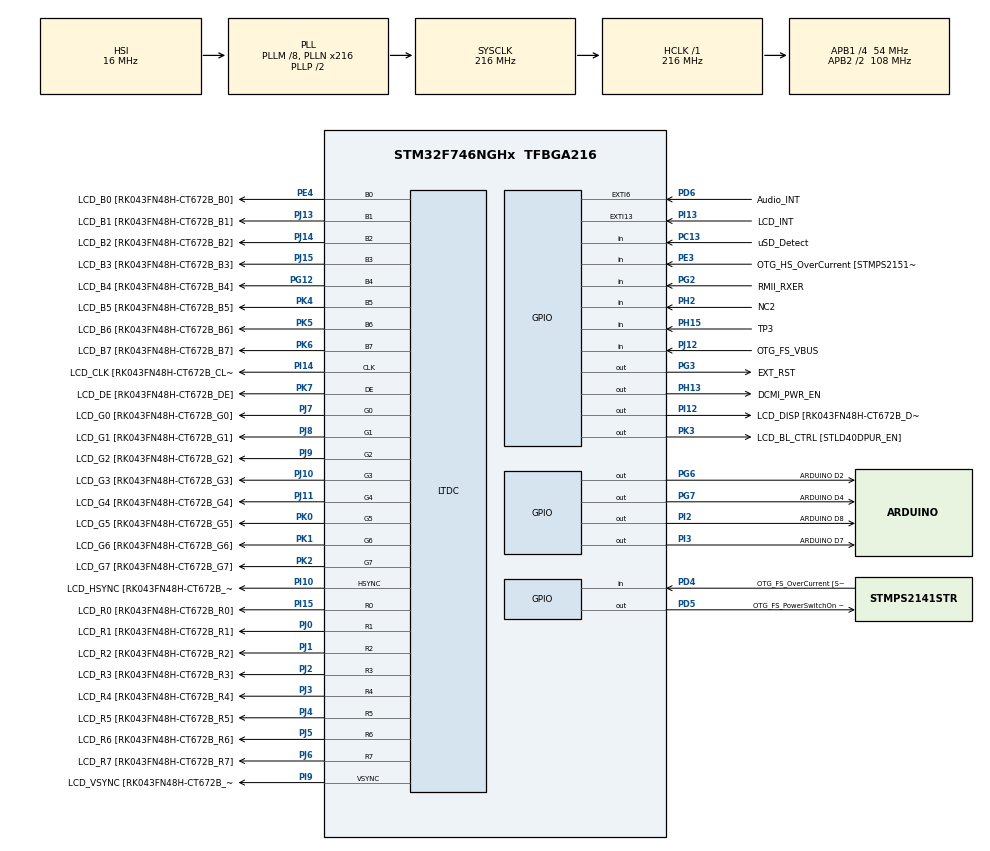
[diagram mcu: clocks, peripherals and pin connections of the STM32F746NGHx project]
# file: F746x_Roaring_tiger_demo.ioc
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LTDC.ActiveH=272
LTDC.ActiveW=480
LTDC.Alpha_L0=255
LTDC.HBP=43
LTDC.HFP=8
LTDC.HSync=51
LTDC.ImageHeight_L0=270
LTDC.ImageWidth_L0=480
LTDC.Layers=0
LTDC.PixelFormat_L0=LTDC_PIXEL_FORMAT_RGB565
LTDC.VBP=12
LTDC.VFP=4
LTDC.VSync=16
LTDC.WindowX1_L0=480
LTDC.WindowY1_L0=270
Mcu.Family=STM32F7
Mcu.Name=STM32F746NGHx
Mcu.Package=TFBGA216
NVIC.LTDC_ER_IRQn=true\:0\:0\:false\:false\:true\:true\:true\:true
NVIC.LTDC_IRQn=true\:0\:0\:false\:false\:true\:true\:true\:true
NVIC.PriorityGroup=NVIC_PRIORITYGROUP_4
PA0/WKUP.GPIO_Label=ARDUINO A0
PA0/WKUP.GPIO_Mode=GPIO_MODE_ANALOG
PA0/WKUP.GPIO_PuPd=GPIO_NOPULL
PA0/WKUP.Signal=ADCx_IN0
PA1.GPIO_Label=RMII_REF_CLK [LAN8742A-CZ-TR_REFCLK0]
PA1.Signal=ETH_REF_CLK
PA10.GPIO_Label=OTG_FS_ID
PA10.Signal=USB_OTG_FS_ID
PA11.GPIO_Label=OTG_FS_N
PA11.Signal=USB_OTG_FS_DM
PA12.GPIO_Label=OTG_FS_P
PA12.Signal=USB_OTG_FS_DP
PA13.GPIO_Label=SWDIO
PA13.Signal=SYS_JTMS-SWDIO
PA14.GPIO_Label=SWCLK
PA14.Signal=SYS_JTCK-SWCLK
PA15.GPIO_Label=ARDUINO PWM/D9
PA15.GPIO_ModeDefaultPP=GPIO_MODE_AF_PP
PA15.GPIO_PuPd=GPIO_NOPULL
PA15.GPIO_Speed=GPIO_SPEED_FREQ_LOW
PA15.Signal=S_TIM2_CH1_ETR
PA2.GPIO_Label=RMII_MDIO [LAN8742A-CZ-TR_MDIO]
PA2.Signal=ETH_MDIO
PA3.GPIO_Label=ULPI_D0 [USB3320C-EZK_D0]
PA3.Signal=USB_OTG_HS_ULPI_D0
PA4.GPIO_Label=DCMI_HSYNC
PA4.Signal=DCMI_HSYNC
PA5.GPIO_Label=ULPI_CLK [USB3320C-EZK_CLKOUT]
PA5.Signal=USB_OTG_HS_ULPI_CK
PA6.Signal=DCMI_PIXCLK
PA7.GPIO_Label=RMII_CRS_DV [LAN8742A-CZ-TR_CRS_DV]
PA7.Signal=ETH_CRS_DV
PA8.GPIO_Label=ARDUINO PWM/D10
PA8.GPIO_ModeDefaultPP=GPIO_MODE_AF_PP
PA8.GPIO_PuPd=GPIO_NOPULL
PA8.GPIO_Speed=GPIO_SPEED_FREQ_LOW
PA8.Signal=S_TIM1_CH1
PA9.GPIO_Label=VCP_TX [STM32F103CBT6_PA3]
PA9.GPIO_Mode=GPIO_MODE_AF_PP
PA9.GPIO_PuPd=GPIO_NOPULL
PA9.GPIO_Speed=GPIO_SPEED_FREQ_LOW
PA9.Signal=USART1_TX
PB0.GPIO_Label=ULPI_D1 [USB3320C-EZK_D1]
PB0.Signal=USB_OTG_HS_ULPI_D1
PB1.GPIO_Label=ULPI_D2 [USB3320C-EZK_D2]
PB1.Signal=USB_OTG_HS_ULPI_D2
PB10.GPIO_Label=ULPI_D3 [USB3320C-EZK_D3]
PB10.Signal=USB_OTG_HS_ULPI_D3
PB11.GPIO_Label=ULPI_D4 [USB3320C-EZK_D4]
PB11.Signal=USB_OTG_HS_ULPI_D4
PB12.GPIO_Label=ULPI_D5 [USB3320C-EZK_D5]
PB12.Signal=USB_OTG_HS_ULPI_D5
PB13.GPIO_Label=ULPI_D6 [USB3320C-EZK_D6]
PB13.Signal=USB_OTG_HS_ULPI_D6
PB14.GPIO_Label=ARDUINO MISO/D12
PB14.GPIO_Mode=GPIO_MODE_AF_PP
PB14.GPIO_PuPd=GPIO_NOPULL
PB14.GPIO_Speed=GPIO_SPEED_FREQ_LOW
PB14.Signal=SPI2_MISO
PB15.GPIO_Label=ARDUINO MOSI/PWM/D11
PB15.GPIO_Mode=GPIO_MODE_AF_PP
PB15.GPIO_PuPd=GPIO_NOPULL
PB15.GPIO_Speed=GPIO_SPEED_FREQ_LOW
PB15.Signal=SPI2_MOSI
PB2.Signal=QUADSPI_CLK
PB3.GPIO_Label=SWO
PB3.Signal=SYS_JTDO-SWO
PB4.GPIO_Label=ARDUINO PWM/D3
PB4.GPIO_ModeDefaultPP=GPIO_MODE_AF_PP
PB4.GPIO_PuPd=GPIO_NOPULL
PB4.GPIO_Speed=GPIO_SPEED_FREQ_LOW
PB4.Signal=S_TIM3_CH1
PB5.GPIO_Label=ULPI_D7 [USB3320C-EZK_D7]
PB5.Signal=USB_OTG_HS_ULPI_D7
PB6.GPIO_Label=QSPI_NCS [N25Q128A13EF840E_S]
PB6.Signal=QUADSPI_BK1_NCS
PB7.GPIO_Label=VCP_RX [STM32F103CBT6_PA2]
PB7.GPIO_Mode=GPIO_MODE_AF_PP
PB7.GPIO_PuPd=GPIO_NOPULL
PB7.GPIO_Speed=GPIO_SPEED_FREQ_LOW
PB7.Signal=USART1_RX
PB8.GPIO_Label=ARDUINO SCL/D15
PB8.GPIO_Mode=GPIO_MODE_AF_OD
PB8.GPIO_PuPd=GPIO_NOPULL
PB8.GPIO_Speed=GPIO_SPEED_FREQ_LOW
PB8.Signal=I2C1_SCL
PB9.GPIO_Label=ARDUINO SDA/D14
PB9.GPIO_Mode=GPIO_MODE_AF_OD
PB9.GPIO_PuPd=GPIO_NOPULL
PB9.GPIO_Speed=GPIO_SPEED_FREQ_LOW
PB9.Signal=I2C1_SDA
PC0.GPIO_Label=ULPI_STP [USB3320C-EZK_STP]
PC0.Signal=USB_OTG_HS_ULPI_STP
PC1.GPIO_Label=RMII_MDC [LAN8742A-CZ-TR_MDC]
PC1.Signal=ETH_MDC
PC10.GPIO_Label=SDMMC_D2
PC10.Signal=SDMMC1_D2
PC11.GPIO_Label=SDMMC_D3
PC11.Signal=SDMMC1_D3
PC12.GPIO_Label=SDMMC_CK
PC12.Signal=SDMMC1_CK
PC13.GPIO_Label=uSD_Detect
PC13.Signal=GPIO_Input
PC14/OSC32_IN.GPIO_Label=RCC_OSC32_IN
PC14/OSC32_IN.Signal=RCC_OSC32_IN
PC15/OSC32_OUT.GPIO_Label=RCC_OSC32_OUT
PC15/OSC32_OUT.Signal=RCC_OSC32_OUT
PC2.GPIO_Label=ULPI_DIR [USB3320C-EZK_DIR]
PC2.Signal=USB_OTG_HS_ULPI_DIR
PC3.GPIO_Label=FMC_SDCKE0 [MT48LC4M32B2B5-6A_CKE]
PC3.Signal=FMC_SDCKE0
PC4.GPIO_Label=RMII_RXD0 [LAN8742A-CZ-TR_RXD0]
PC4.Signal=ETH_RXD0
PC5.GPIO_Label=RMII_RXD1 [LAN8742A-CZ-TR_RXD1]
PC5.Signal=ETH_RXD1
PC6.GPIO_Label=ARDUINO TX/D1
PC6.Signal=USART6_TX
PC7.GPIO_Label=ARDUINO RX/D0
PC7.Signal=USART6_RX
PC8.Signal=SDMMC1_D0
PC9.Signal=SDMMC1_D1
PD0.GPIO_Label=FMC_D2 [MT48LC4M32B2B5-6A_DQ2]
PD0.Signal=FMC_D2_DA2
PD1.GPIO_Label=FMC_D3 [MT48LC4M32B2B5-6A_DQ3]
PD1.Signal=FMC_D3_DA3
PD10.GPIO_Label=FMC_D15 [MT48LC4M32B2B5-6A_DQ15]
PD10.Signal=FMC_D15_DA15
PD11.GPIO_Label=QSPI_D0 [N25Q128A13EF840E_DQ0]
PD11.Signal=QUADSPI_BK1_IO0
PD12.GPIO_Label=QSPI_D1 [N25Q128A13EF840E_DQ1]
PD12.Signal=QUADSPI_BK1_IO1
PD13.GPIO_Label=QSPI_D3 [N25Q128A13EF840E_DQ3]
PD13.Signal=QUADSPI_BK1_IO3
PD14.GPIO_Label=FMC_D0 [MT48LC4M32B2B5-6A_DQ0]
PD14.Signal=FMC_D0_DA0
PD15.GPIO_Label=FMC_D1 [MT48LC4M32B2B5-6A_DQ1]
PD15.Signal=FMC_D1_DA1
PD2.GPIO_Label=SDMMC_D0
PD2.Signal=SDMMC1_CMD
PD3.GPIO_Label=DCMI_D5
PD3.Signal=DCMI_D5
PD4.GPIO_Label=OTG_FS_OverCurrent [STMPS2141STR_Fault]
PD4.Signal=GPIO_Input
PD5.GPIO_Label=OTG_FS_PowerSwitchOn [STMPS2141STR_EN]
PD5.PinState=GPIO_PIN_SET
PD5.Signal=GPIO_Output
PD6.GPIO_Label=Audio_INT
PD6.GPIO_ModeDefaultEXTI=GPIO_MODE_EVT_RISING
PD6.Signal=GPXTI6
PD7.GPIO_Label=SPDIF_RX0 [74LVC1G04SE_4]
PD7.Signal=SPDIFRX_IN0
PD8.GPIO_Label=FMC_D13 [MT48LC4M32B2B5-6A_DQ13]
PD8.Signal=FMC_D13_DA13
PD9.GPIO_Label=FMC_D14 [MT48LC4M32B2B5-6A_DQ14]
PD9.Signal=FMC_D14_DA14
PE0.GPIO_Label=FMC_NBL0 [MT48LC4M32B2B5-6A_DQM0]
PE0.Signal=FMC_NBL0
PE1.GPIO_Label=FMC_NBL1 [MT48LC4M32B2B5-6A_DQM1]
PE1.Signal=FMC_NBL1
PE10.GPIO_Label=FMC_D7 [MT48LC4M32B2B5-6A_DQ7]
PE10.Signal=FMC_D7_DA7
PE11.GPIO_Label=FMC_D8 [MT48LC4M32B2B5-6A_DQ8]
PE11.Signal=FMC_D8_DA8
PE12.GPIO_Label=FMC_D9 [MT48LC4M32B2B5-6A_DQ9]
PE12.Signal=FMC_D9_DA9
PE13.GPIO_Label=FMC_D10 [MT48LC4M32B2B5-6A_DQ10]
PE13.Signal=FMC_D10_DA10
PE14.GPIO_Label=FMC_D11 [MT48LC4M32B2B5-6A_DQ11]
PE14.Signal=FMC_D11_DA11
PE15.GPIO_Label=FMC_D12 [MT48LC4M32B2B5-6A_DQ12]
PE15.Signal=FMC_D12_DA12
PE2.GPIO_Label=QSPI_D2 [N25Q128A13EF840E_DQ2]
PE2.Signal=QUADSPI_BK1_IO2
PE3.GPIO_Label=OTG_HS_OverCurrent [STMPS2151STR_FAULT]
PE3.Signal=GPIO_Input
PE4.GPIO_Label=LCD_B0 [RK043FN48H-CT672B_B0]
PE4.Mode=RGB888
PE4.Signal=LTDC_B0
PE5.GPIO_Label=DCMI_D6
PE5.Signal=DCMI_D6
PE6.GPIO_Label=DCMI_D7
PE6.Signal=DCMI_D7
PE7.GPIO_Label=FMC_D4 [MT48LC4M32B2B5-6A_DQ4]
PE7.Signal=FMC_D4_DA4
PE8.GPIO_Label=FMC_D5 [MT48LC4M32B2B5-6A_DQ5]
PE8.Signal=FMC_D5_DA5
PE9.GPIO_Label=FMC_D6 [MT48LC4M32B2B5-6A_DQ6]
PE9.Signal=FMC_D6_DA6
PF0.GPIO_Label=FMC_A0 [MT48LC4M32B2B5-6A_A0]
PF0.Signal=FMC_A0
PF1.GPIO_Label=FMC_A1 [MT48LC4M32B2B5-6A_A1]
PF1.Signal=FMC_A1
PF10.GPIO_Label=ARDUINO A1
PF10.GPIO_Mode=GPIO_MODE_ANALOG
PF10.GPIO_PuPd=GPIO_NOPULL
PF10.Signal=ADC3_IN8
PF11.GPIO_Label=FMC_SDNRAS [MT48LC4M32B2B5-6A_RAS]
PF11.Signal=FMC_SDNRAS
PF12.GPIO_Label=FMC_A6 [MT48LC4M32B2B5-6A_A6]
PF12.Signal=FMC_A6
PF13.GPIO_Label=FMC_A7 [MT48LC4M32B2B5-6A_A7]
PF13.Signal=FMC_A7
PF14.GPIO_Label=FMC_A8 [MT48LC4M32B2B5-6A_A8]
PF14.Signal=FMC_A8
PF15.GPIO_Label=FMC_A9 [MT48LC4M32B2B5-6A_A9]
PF15.Signal=FMC_A9
PF2.GPIO_Label=FMC_A2 [MT48LC4M32B2B5-6A_A2]
PF2.Signal=FMC_A2
PF3.GPIO_Label=FMC_A3 [MT48LC4M32B2B5-6A_A3]
PF3.Signal=FMC_A3
PF4.GPIO_Label=FMC_A4 [MT48LC4M32B2B5-6A_A4]
PF4.Signal=FMC_A4
PF5.GPIO_Label=FMC_A5 [MT48LC4M32B2B5-6A_A5]
PF5.Signal=FMC_A5
PF6.GPIO_Label=ARDUINO A5
PF6.GPIO_Mode=GPIO_MODE_ANALOG
PF6.GPIO_PuPd=GPIO_NOPULL
PF6.Signal=ADC3_IN4
PF7.GPIO_Label=ARDUINO A4
PF7.GPIO_Mode=GPIO_MODE_ANALOG
PF7.GPIO_PuPd=GPIO_NOPULL
PF7.Signal=ADC3_IN5
PF8.GPIO_Label=ARDUINO A3
PF8.GPIO_Mode=GPIO_MODE_ANALOG
PF8.GPIO_PuPd=GPIO_NOPULL
PF8.Signal=ADC3_IN6
PF9.GPIO_Label=ARDUINO A2
PF9.GPIO_Mode=GPIO_MODE_ANALOG
PF9.GPIO_PuPd=GPIO_NOPULL
PF9.Signal=ADC3_IN7
PG0.GPIO_Label=FMC_A10 [MT48LC4M32B2B5-6A_A10]
PG0.Signal=FMC_A10
PG1.GPIO_Label=FMC_A11 [MT48LC4M32B2B5-6A_A11]
PG1.Signal=FMC_A11
PG10.GPIO_Label=SAI2_SDB [WM8994ECS/R_ADCDAT1]
PG10.Signal=SAI2_SD_B
PG11.GPIO_Label=RMII_TX_EN [LAN8742A-CZ-TR_TXEN]
PG11.Signal=ETH_TX_EN
PG12.GPIO_Label=LCD_B4 [RK043FN48H-CT672B_B4]
PG12.Mode=RGB888
PG12.Signal=LTDC_B4
PG13.GPIO_Label=RMII_TXD0 [LAN8742A-CZ-TR_TXD0]
PG13.Signal=ETH_TXD0
PG14.GPIO_Label=RMII_TXD1 [LAN8742A-CZ-TR_TXD1]
PG14.Signal=ETH_TXD1
PG15.GPIO_Label=FMC_SDNCAS [MT48LC4M32B2B5-6A_CAS]
PG15.Signal=FMC_SDNCAS
PG2.GPIO_Label=RMII_RXER
PG2.Signal=GPIO_Input
PG3.GPIO_Label=EXT_RST
PG3.Signal=GPIO_Output
PG4.GPIO_Label=FMC_BA0 [MT48LC4M32B2B5-6A_BA0]
PG4.Signal=FMC_A14_BA0
PG5.GPIO_Label=FMC_BA1 [MT48LC4M32B2B5-6A_BA1]
PG5.Signal=FMC_A15_BA1
PG6.GPIO_Label=ARDUINO D2
PG6.Signal=GPIO_Output
PG7.GPIO_Label=ARDUINO D4
PG7.Signal=GPIO_Output
PG8.GPIO_Label=FMC_SDCLK [MT48LC4M32B2B5-6A_CLK]
PG8.Signal=FMC_SDCLK
PG9.GPIO_Label=DCMI_VSYNC
PG9.Signal=DCMI_VSYNC
PH0/OSC_IN.GPIO_Label=OSC_25M [NZ2520SB-25.00M_OUT]
PH0/OSC_IN.Signal=RCC_OSC_IN
PH1/OSC_OUT.Signal=RCC_OSC_OUT
PH10.GPIO_Label=DCMI_D1
PH10.Signal=DCMI_D1
PH11.GPIO_Label=DCMI_D2
PH11.Signal=DCMI_D2
PH12.GPIO_Label=DCMI_D3
PH12.Signal=DCMI_D3
PH13.GPIO_Label=DCMI_PWR_EN
PH13.Signal=GPIO_Output
PH14.GPIO_Label=DCMI_D4
PH14.Signal=DCMI_D4
PH15.GPIO_Label=TP3
PH15.Signal=GPIO_Input
PH2.GPIO_Label=NC2
PH2.Signal=GPIO_Input
PH3.GPIO_Label=FMC_SDNE0 [MT48LC4M32B2B5-6A_CS]
PH3.Signal=FMC_SDNE0
PH4.GPIO_Label=ULPI_NXT [USB3320C-EZK_NXT]
PH4.Signal=USB_OTG_HS_ULPI_NXT
PH5.GPIO_Label=FMC_SDNME [MT48LC4M32B2B5-6A_WE]
PH5.Signal=FMC_SDNWE
PH6.GPIO_Label=ARDUINO PWM/D6
PH6.Signal=S_TIM12_CH1
PH7.GPIO_Label=LCD_SCL [RK043FN48H-CT672B_SCL]
PH7.Signal=I2C3_SCL
PH8.GPIO_Label=LCD_SDA [RK043FN48H-CT672B_SDA]
PH8.Signal=I2C3_SDA
PH9.GPIO_Label=DCMI_D0
PH9.Signal=DCMI_D0
PI0.GPIO_Label=ARDUINO PWM/CS/D5
PI0.GPIO_ModeDefaultPP=GPIO_MODE_AF_PP
PI0.GPIO_PuPd=GPIO_NOPULL
PI0.GPIO_Speed=GPIO_SPEED_FREQ_LOW
PI0.Signal=S_TIM5_CH4
PI1.GPIO_Label=ARDUINO SCK/D13
PI1.GPIO_Mode=GPIO_MODE_AF_PP
PI1.GPIO_PuPd=GPIO_NOPULL
PI1.GPIO_Speed=GPIO_SPEED_FREQ_LOW
PI1.Signal=SPI2_SCK
PI10.GPIO_Label=LCD_HSYNC [RK043FN48H-CT672B_HSYNC]
PI10.Mode=RGB888
PI10.Signal=LTDC_HSYNC
PI12.GPIO_Label=LCD_DISP [RK043FN48H-CT672B_DISP] 
PI12.PinState=GPIO_PIN_SET
PI12.Signal=GPIO_Output
PI13.GPIO_Label=LCD_INT
PI13.GPIO_ModeDefaultEXTI=GPIO_MODE_EVT_RISING
PI13.Signal=GPXTI13
PI14.GPIO_Label=LCD_CLK [RK043FN48H-CT672B_CLK]
PI14.Mode=RGB888
PI14.Signal=LTDC_CLK
PI15.GPIO_Label=LCD_R0 [RK043FN48H-CT672B_R0]
PI15.Mode=RGB888
PI15.Signal=LTDC_R0
PI2.GPIO_Label=ARDUINO D8
PI2.Signal=GPIO_Output
PI3.GPIO_Label=ARDUINO D7
PI3.Signal=GPIO_Output
PI4.GPIO_Label=SAI2_MCLKA [WM8994ECS/R_MCLK1]
PI4.Signal=SAI2_MCLK_A
PI5.GPIO_Label=SAI2_SCKA [WM8994ECS/R_BCLK1]
PI5.Signal=SAI2_SCK_A
PI6.GPIO_Label=SAI2_SDA [WM8994ECS/R_DACDAT1]
PI6.Signal=SAI2_SD_A
PI7.GPIO_Label=SAI2_FSA [WM8994ECS/R_LRCLK1]
PI7.Signal=SAI2_FS_A
PI8.GPIO_Label=NC1 [TP2]
PI8.Signal=RTC_TS
PI9.GPIO_Label=LCD_VSYNC [RK043FN48H-CT672B_VSYNC]
PI9.Mode=RGB888
PI9.Signal=LTDC_VSYNC
PJ0.GPIO_Label=LCD_R1 [RK043FN48H-CT672B_R1]
PJ0.Mode=RGB888
PJ0.Signal=LTDC_R1
PJ1.GPIO_Label=LCD_R2 [RK043FN48H-CT672B_R2]
PJ1.Mode=RGB888
PJ1.Signal=LTDC_R2
PJ10.GPIO_Label=LCD_G3 [RK043FN48H-CT672B_G3]
PJ10.Mode=RGB888
PJ10.Signal=LTDC_G3
PJ11.GPIO_Label=LCD_G4 [RK043FN48H-CT672B_G4]
PJ11.Mode=RGB888
PJ11.Signal=LTDC_G4
PJ12.GPIO_Label=OTG_FS_VBUS
PJ12.Signal=GPIO_Input
PJ13.GPIO_Label=LCD_B1 [RK043FN48H-CT672B_B1]
PJ13.Mode=RGB888
PJ13.Signal=LTDC_B1
PJ14.GPIO_Label=LCD_B2 [RK043FN48H-CT672B_B2]
PJ14.Mode=RGB888
PJ14.Signal=LTDC_B2
PJ15.GPIO_Label=LCD_B3 [RK043FN48H-CT672B_B3]
PJ15.Mode=RGB888
PJ15.Signal=LTDC_B3
PJ2.GPIO_Label=LCD_R3 [RK043FN48H-CT672B_R3]
PJ2.Mode=RGB888
PJ2.Signal=LTDC_R3
PJ3.GPIO_Label=LCD_R4 [RK043FN48H-CT672B_R4]
PJ3.Mode=RGB888
PJ3.Signal=LTDC_R4
PJ4.GPIO_Label=LCD_R5 [RK043FN48H-CT672B_R5]
PJ4.Mode=RGB888
PJ4.Signal=LTDC_R5
PJ5.GPIO_Label=LCD_R6 [RK043FN48H-CT672B_R6]
PJ5.Mode=RGB888
PJ5.Signal=LTDC_R6
PJ6.GPIO_Label=LCD_R7 [RK043FN48H-CT672B_R7]
PJ6.Mode=RGB888
PJ6.Signal=LTDC_R7
PJ7.GPIO_Label=LCD_G0 [RK043FN48H-CT672B_G0]
PJ7.Mode=RGB888
PJ7.Signal=LTDC_G0
PJ8.GPIO_Label=LCD_G1 [RK043FN48H-CT672B_G1]
PJ8.Mode=RGB888
PJ8.Signal=LTDC_G1
PJ9.GPIO_Label=LCD_G2 [RK043FN48H-CT672B_G2]
PJ9.Mode=RGB888
PJ9.Signal=LTDC_G2
PK0.GPIO_Label=LCD_G5 [RK043FN48H-CT672B_G5]
PK0.Mode=RGB888
PK0.Signal=LTDC_G5
PK1.GPIO_Label=LCD_G6 [RK043FN48H-CT672B_G6]
PK1.Mode=RGB888
PK1.Signal=LTDC_G6
PK2.GPIO_Label=LCD_G7 [RK043FN48H-CT672B_G7]
PK2.Mode=RGB888
PK2.Signal=LTDC_G7
PK3.GPIO_Label=LCD_BL_CTRL [STLD40DPUR_EN]
PK3.PinState=GPIO_PIN_SET
PK3.Signal=GPIO_Output
PK4.GPIO_Label=LCD_B5 [RK043FN48H-CT672B_B5]
PK4.Mode=RGB888
PK4.Signal=LTDC_B5
PK5.GPIO_Label=LCD_B6 [RK043FN48H-CT672B_B6]
PK5.Mode=RGB888
PK5.Signal=LTDC_B6
PK6.GPIO_Label=LCD_B7 [RK043FN48H-CT672B_B7]
PK6.Mode=RGB888
PK6.Signal=LTDC_B7
PK7.GPIO_Label=LCD_DE [RK043FN48H-CT672B_DE]
PK7.Mode=RGB888
PK7.Signal=LTDC_DE
ProjectManager.HeapSize=0x200
ProjectManager.StackSize=0x400
ProjectManager.TargetToolchain=STM32CubeIDE
RCC.AHBFreq_Value=216000000
RCC.APB1CLKDivider=RCC_HCLK_DIV4
RCC.APB1Freq_Value=54000000
RCC.APB1TimFreq_Value=108000000
RCC.APB2CLKDivider=RCC_HCLK_DIV2
RCC.APB2Freq_Value=108000000
RCC.APB2TimFreq_Value=216000000
RCC.CortexFreq_Value=216000000
RCC.HCLKFreq_Value=216000000
RCC.HSE_VALUE=25000000
RCC.HSI_VALUE=16000000
RCC.LSE_VALUE=32768
RCC.PLLM=8
RCC.PLLN=216
RCC.PLLSAIN=50
RCC.PLLSourceVirtual=RCC_PLLSOURCE_HSI
RCC.SYSCLKFreq_VALUE=216000000
RCC.SYSCLKSource=RCC_SYSCLKSOURCE_PLLCLK
RCC.USBFreq_Value=216000000
RCC.VCOOutputFreq_Value=432000000
SH.ADCx_IN0.0=ADC3_IN0
SH.FMC_A0.0=FMC_A0
SH.FMC_A1.0=FMC_A1
SH.FMC_A10.0=FMC_A10
SH.FMC_A11.0=FMC_A11
SH.FMC_A14_BA0.0=FMC_BA0
SH.FMC_A15_BA1.0=FMC_BA1
SH.FMC_A2.0=FMC_A2
SH.FMC_A3.0=FMC_A3
SH.FMC_A4.0=FMC_A4
SH.FMC_A5.0=FMC_A5
SH.FMC_A6.0=FMC_A6
SH.FMC_A7.0=FMC_A7
SH.FMC_A8.0=FMC_A8
SH.FMC_A9.0=FMC_A9
SH.FMC_D0_DA0.0=FMC_D0
SH.FMC_D10_DA10.0=FMC_D10
SH.FMC_D11_DA11.0=FMC_D11
SH.FMC_D12_DA12.0=FMC_D12
SH.FMC_D13_DA13.0=FMC_D13
SH.FMC_D14_DA14.0=FMC_D14
SH.FMC_D15_DA15.0=FMC_D15
SH.FMC_D1_DA1.0=FMC_D1
SH.FMC_D2_DA2.0=FMC_D2
SH.FMC_D3_DA3.0=FMC_D3
SH.FMC_D4_DA4.0=FMC_D4
SH.FMC_D5_DA5.0=FMC_D5
SH.FMC_D6_DA6.0=FMC_D6
SH.FMC_D7_DA7.0=FMC_D7
SH.FMC_D8_DA8.0=FMC_D8
SH.FMC_D9_DA9.0=FMC_D9
SH.FMC_NBL0.0=FMC_NBL0
SH.FMC_NBL1.0=FMC_NBL1
SH.FMC_SDCLK.0=FMC_SDCLK
SH.FMC_SDNCAS.0=FMC_SDNCAS
SH.FMC_SDNRAS.0=FMC_SDNRAS
SH.FMC_SDNWE.0=FMC_SDNWE
SH.S_TIM12_CH1.0=TIM12_CH1
SH.S_TIM1_CH1.0=TIM1_CH1
SH.S_TIM2_CH1_ETR.0=TIM2_CH1
SH.S_TIM3_CH1.0=TIM3_CH1
SH.S_TIM5_CH4.0=TIM5_CH4
board=STM32F746G-DISCO

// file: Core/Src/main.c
/* USER CODE BEGIN Header */
/**
  ******************************************************************************
  * @file           : main.c
  * @brief          : Main program body
  ******************************************************************************
  * @attention
  *
  * Copyright (c) 2022 STMicroelectronics.
  * All rights reserved.
  *
  * This software is licensed under terms that can be found in the LICENSE file
  * in the root directory of this software component.
  * If no LICENSE file comes with this software, it is provided AS-IS.
  *
  ******************************************************************************
  */
/* USER CODE END Header */
#include "main.h"

/* USER CODE BEGIN Includes */
#define LINE_INT_POS 240U
/* Next frame after 45 frame duration */
#define FRAME_CHANGE_DELAY  60
/* USER CODE END Includes */

LTDC_HandleTypeDef hltdc;

/* USER CODE BEGIN PV */
extern const uint8_t t1_480x270_map[];
extern const uint8_t t2_480x270_map[];
extern const uint8_t t3_480x270_map[];
/* USER CODE END PV */

void SystemClock_Config(void);
static void MX_GPIO_Init(void);
static void MX_LTDC_Init(void);

int main(void)
{

  /* MCU Configuration--------------------------------------------------------*/

  /* Reset of all peripherals, Initializes the Flash interface and the Systick. */
  HAL_Init();

  /* Configure the system clock */
  SystemClock_Config();

  /* Initialize all configured peripherals */
  MX_GPIO_Init();
  MX_LTDC_Init();
  /* USER CODE BEGIN 2 */

  /* Enable vertical line completion interrupt at LINE_INT_POS position */
  HAL_LTDC_ProgramLineEvent(&hltdc,LINE_INT_POS);
  /*Configure the frame buffer address into Layer-1 fb address register */
  HAL_LTDC_SetAddress(&hltdc, (uint32_t)t1_480x270_map, LTDC_LAYER_1);

  /* USER CODE END 2 */

  /* Infinite loop */
  while (1)
  {

  }
}

void SystemClock_Config(void)
{
  RCC_OscInitTypeDef RCC_OscInitStruct = {0};
  RCC_ClkInitTypeDef RCC_ClkInitStruct = {0};

  /** Configure the main internal regulator output voltage
  */
  __HAL_RCC_PWR_CLK_ENABLE();
  __HAL_PWR_VOLTAGESCALING_CONFIG(PWR_REGULATOR_VOLTAGE_SCALE1);

  /** Initializes the RCC Oscillators according to the specified parameters
  * in the RCC_OscInitTypeDef structure.
  */
  RCC_OscInitStruct.OscillatorType = RCC_OSCILLATORTYPE_HSI;
  RCC_OscInitStruct.HSIState = RCC_HSI_ON;
  RCC_OscInitStruct.HSICalibrationValue = RCC_HSICALIBRATION_DEFAULT;
  RCC_OscInitStruct.PLL.PLLState = RCC_PLL_ON;
  RCC_OscInitStruct.PLL.PLLSource = RCC_PLLSOURCE_HSI;
  RCC_OscInitStruct.PLL.PLLM = 8;
  RCC_OscInitStruct.PLL.PLLN = 216;
  RCC_OscInitStruct.PLL.PLLP = RCC_PLLP_DIV2;
  RCC_OscInitStruct.PLL.PLLQ = 2;
  if (HAL_RCC_OscConfig(&RCC_OscInitStruct) != HAL_OK)
  {
    Error_Handler();
  }

  /** Activate the Over-Drive mode
  */
  if (HAL_PWREx_EnableOverDrive() != HAL_OK)
  {
    Error_Handler();
  }

  /** Initializes the CPU, AHB and APB buses clocks
  */
  RCC_ClkInitStruct.ClockType = RCC_CLOCKTYPE_HCLK|RCC_CLOCKTYPE_SYSCLK
                              |RCC_CLOCKTYPE_PCLK1|RCC_CLOCKTYPE_PCLK2;
  RCC_ClkInitStruct.SYSCLKSource = RCC_SYSCLKSOURCE_PLLCLK;
  RCC_ClkInitStruct.AHBCLKDivider = RCC_SYSCLK_DIV1;
  RCC_ClkInitStruct.APB1CLKDivider = RCC_HCLK_DIV4;
  RCC_ClkInitStruct.APB2CLKDivider = RCC_HCLK_DIV2;

  if (HAL_RCC_ClockConfig(&RCC_ClkInitStruct, FLASH_LATENCY_7) != HAL_OK)
  {
    Error_Handler();
  }
}

static void MX_LTDC_Init(void)
{

  LTDC_LayerCfgTypeDef pLayerCfg = {0};

  hltdc.Instance = LTDC;
  hltdc.Init.HSPolarity = LTDC_HSPOLARITY_AL;
  hltdc.Init.VSPolarity = LTDC_VSPOLARITY_AL;
  hltdc.Init.DEPolarity = LTDC_DEPOLARITY_AL;
  hltdc.Init.PCPolarity = LTDC_PCPOLARITY_IPC;
  hltdc.Init.HorizontalSync = 50;
  hltdc.Init.VerticalSync = 15;
  hltdc.Init.AccumulatedHBP = 93;
  hltdc.Init.AccumulatedVBP = 27;
  hltdc.Init.AccumulatedActiveW = 573;
  hltdc.Init.AccumulatedActiveH = 299;
  hltdc.Init.TotalWidth = 581;
  hltdc.Init.TotalHeigh = 303;
  hltdc.Init.Backcolor.Blue = 0;
  hltdc.Init.Backcolor.Green = 0;
  hltdc.Init.Backcolor.Red = 0;
  if (HAL_LTDC_Init(&hltdc) != HAL_OK)
  {
    Error_Handler();
  }
  pLayerCfg.WindowX0 = 0;
  pLayerCfg.WindowX1 = 480;
  pLayerCfg.WindowY0 = 0;
  pLayerCfg.WindowY1 = 270;
  pLayerCfg.PixelFormat = LTDC_PIXEL_FORMAT_RGB565;
  pLayerCfg.Alpha = 255;
  pLayerCfg.Alpha0 = 0;
  pLayerCfg.BlendingFactor1 = LTDC_BLENDING_FACTOR1_CA;
  pLayerCfg.BlendingFactor2 = LTDC_BLENDING_FACTOR2_CA;
  pLayerCfg.FBStartAdress = 0;
  pLayerCfg.ImageWidth = 480;
  pLayerCfg.ImageHeight = 270;
  pLayerCfg.Backcolor.Blue = 0;
  pLayerCfg.Backcolor.Green = 0;
  pLayerCfg.Backcolor.Red = 0;
  if (HAL_LTDC_ConfigLayer(&hltdc, &pLayerCfg, 0) != HAL_OK)
  {
    Error_Handler();
  }

}

static void MX_GPIO_Init(void)
{
  GPIO_InitTypeDef GPIO_InitStruct = {0};

  /* GPIO Ports Clock Enable */
  __HAL_RCC_GPIOE_CLK_ENABLE();
  __HAL_RCC_GPIOG_CLK_ENABLE();
  __HAL_RCC_GPIOB_CLK_ENABLE();
  __HAL_RCC_GPIOD_CLK_ENABLE();
  __HAL_RCC_GPIOC_CLK_ENABLE();
  __HAL_RCC_GPIOA_CLK_ENABLE();
  __HAL_RCC_GPIOJ_CLK_ENABLE();
  __HAL_RCC_GPIOI_CLK_ENABLE();
  __HAL_RCC_GPIOK_CLK_ENABLE();
  __HAL_RCC_GPIOF_CLK_ENABLE();
  __HAL_RCC_GPIOH_CLK_ENABLE();

  /*Configure GPIO pin Output Level */
  HAL_GPIO_WritePin(OTG_FS_PowerSwitchOn_GPIO_Port, OTG_FS_PowerSwitchOn_Pin, GPIO_PIN_SET);

  /*Configure GPIO pin Output Level */
  HAL_GPIO_WritePin(GPIOI, ARDUINO_D7_Pin|ARDUINO_D8_Pin, GPIO_PIN_RESET);

  /*Configure GPIO pin Output Level */
  HAL_GPIO_WritePin(LCD_BL_CTRL_GPIO_Port, LCD_BL_CTRL_Pin, GPIO_PIN_SET);

  /*Configure GPIO pin Output Level */
  HAL_GPIO_WritePin(LCD_DISP_GPIO_Port, LCD_DISP_Pin, GPIO_PIN_SET);

  /*Configure GPIO pin Output Level */
  HAL_GPIO_WritePin(DCMI_PWR_EN_GPIO_Port, DCMI_PWR_EN_Pin, GPIO_PIN_RESET);

  /*Configure GPIO pin Output Level */
  HAL_GPIO_WritePin(GPIOG, ARDUINO_D4_Pin|ARDUINO_D2_Pin|EXT_RST_Pin, GPIO_PIN_RESET);

  /*Configure GPIO pin : OTG_HS_OverCurrent_Pin */
  GPIO_InitStruct.Pin = OTG_HS_OverCurrent_Pin;
  GPIO_InitStruct.Mode = GPIO_MODE_INPUT;
  GPIO_InitStruct.Pull = GPIO_NOPULL;
  HAL_GPIO_Init(OTG_HS_OverCurrent_GPIO_Port, &GPIO_InitStruct);

  /*Configure GPIO pin : QSPI_D2_Pin */
  GPIO_InitStruct.Pin = QSPI_D2_Pin;
  GPIO_InitStruct.Mode = GPIO_MODE_AF_PP;
  GPIO_InitStruct.Pull = GPIO_NOPULL;
  GPIO_InitStruct.Speed = GPIO_SPEED_FREQ_VERY_HIGH;
  GPIO_InitStruct.Alternate = GPIO_AF9_QUADSPI;
  HAL_GPIO_Init(QSPI_D2_GPIO_Port, &GPIO_InitStruct);

  /*Configure GPIO pins : RMII_TXD1_Pin RMII_TXD0_Pin RMII_TX_EN_Pin */
  GPIO_InitStruct.Pin = RMII_TXD1_Pin|RMII_TXD0_Pin|RMII_TX_EN_Pin;
  GPIO_InitStruct.Mode = GPIO_MODE_AF_PP;
  GPIO_InitStruct.Pull = GPIO_NOPULL;
  GPIO_InitStruct.Speed = GPIO_SPEED_FREQ_VERY_HIGH;
  GPIO_InitStruct.Alternate = GPIO_AF11_ETH;
  HAL_GPIO_Init(GPIOG, &GPIO_InitStruct);

  /*Configure GPIO pins : FMC_NBL1_Pin FMC_NBL0_Pin FMC_D5_Pin FMC_D6_Pin
                           FMC_D8_Pin FMC_D11_Pin FMC_D4_Pin FMC_D7_Pin
                           FMC_D9_Pin FMC_D12_Pin FMC_D10_Pin */
  GPIO_InitStruct.Pin = FMC_NBL1_Pin|FMC_NBL0_Pin|FMC_D5_Pin|FMC_D6_Pin
                          |FMC_D8_Pin|FMC_D11_Pin|FMC_D4_Pin|FMC_D7_Pin
                          |FMC_D9_Pin|FMC_D12_Pin|FMC_D10_Pin;
  GPIO_InitStruct.Mode = GPIO_MODE_AF_PP;
  GPIO_InitStruct.Pull = GPIO_NOPULL;
  GPIO_InitStruct.Speed = GPIO_SPEED_FREQ_VERY_HIGH;
  GPIO_InitStruct.Alternate = GPIO_AF12_FMC;
  HAL_GPIO_Init(GPIOE, &GPIO_InitStruct);

  /*Configure GPIO pins : ARDUINO_SCL_D15_Pin ARDUINO_SDA_D14_Pin */
  GPIO_InitStruct.Pin = ARDUINO_SCL_D15_Pin|ARDUINO_SDA_D14_Pin;
  GPIO_InitStruct.Mode = GPIO_MODE_AF_OD;
  GPIO_InitStruct.Pull = GPIO_NOPULL;
  GPIO_InitStruct.Speed = GPIO_SPEED_FREQ_LOW;
  GPIO_InitStruct.Alternate = GPIO_AF4_I2C1;
  HAL_GPIO_Init(GPIOB, &GPIO_InitStruct);

  /*Configure GPIO pins : ULPI_D7_Pin ULPI_D6_Pin ULPI_D5_Pin ULPI_D3_Pin
                           ULPI_D2_Pin ULPI_D1_Pin ULPI_D4_Pin */
  GPIO_InitStruct.Pin = ULPI_D7_Pin|ULPI_D6_Pin|ULPI_D5_Pin|ULPI_D3_Pin
                          |ULPI_D2_Pin|ULPI_D1_Pin|ULPI_D4_Pin;
  GPIO_InitStruct.Mode = GPIO_MODE_AF_PP;
  GPIO_InitStruct.Pull = GPIO_NOPULL;
  GPIO_InitStruct.Speed = GPIO_SPEED_FREQ_VERY_HIGH;
  GPIO_InitStruct.Alternate = GPIO_AF10_OTG_HS;
  HAL_GPIO_Init(GPIOB, &GPIO_InitStruct);

  /*Configure GPIO pin : ARDUINO_PWM_D3_Pin */
  GPIO_InitStruct.Pin = ARDUINO_PWM_D3_Pin;
  GPIO_InitStruct.Mode = GPIO_MODE_AF_PP;
  GPIO_InitStruct.Pull = GPIO_NOPULL;
  GPIO_InitStruct.Speed = GPIO_SPEED_FREQ_LOW;
  GPIO_InitStruct.Alternate = GPIO_AF2_TIM3;
  HAL_GPIO_Init(ARDUINO_PWM_D3_GPIO_Port, &GPIO_InitStruct);

  /*Configure GPIO pin : SPDIF_RX0_Pin */
  GPIO_InitStruct.Pin = SPDIF_RX0_Pin;
  GPIO_InitStruct.Mode = GPIO_MODE_AF_PP;
  GPIO_InitStruct.Pull = GPIO_NOPULL;
  GPIO_InitStruct.Speed = GPIO_SPEED_FREQ_LOW;
  GPIO_InitStruct.Alternate = GPIO_AF8_SPDIFRX;
  HAL_GPIO_Init(SPDIF_RX0_GPIO_Port, &GPIO_InitStruct);

  /*Configure GPIO pins : SDMMC_CK_Pin SDMMC_D3_Pin SDMMC_D2_Pin PC9
                           PC8 */
  GPIO_InitStruct.Pin = SDMMC_CK_Pin|SDMMC_D3_Pin|SDMMC_D2_Pin|GPIO_PIN_9
                          |GPIO_PIN_8;
  GPIO_InitStruct.Mode = GPIO_MODE_AF_PP;
  GPIO_InitStruct.Pull = GPIO_NOPULL;
  GPIO_InitStruct.Speed = GPIO_SPEED_FREQ_VERY_HIGH;
  GPIO_InitStruct.Alternate = GPIO_AF12_SDMMC1;
  HAL_GPIO_Init(GPIOC, &GPIO_InitStruct);

  /*Configure GPIO pin : ARDUINO_PWM_D9_Pin */
  GPIO_InitStruct.Pin = ARDUINO_PWM_D9_Pin;
  GPIO_InitStruct.Mode = GPIO_MODE_AF_PP;
  GPIO_InitStruct.Pull = GPIO_NOPULL;
  GPIO_InitStruct.Speed = GPIO_SPEED_FREQ_LOW;
  GPIO_InitStruct.Alternate = GPIO_AF1_TIM2;
  HAL_GPIO_Init(ARDUINO_PWM_D9_GPIO_Port, &GPIO_InitStruct);

  /*Configure GPIO pins : DCMI_D6_Pin DCMI_D7_Pin */
  GPIO_InitStruct.Pin = DCMI_D6_Pin|DCMI_D7_Pin;
  GPIO_InitStruct.Mode = GPIO_MODE_AF_PP;
  GPIO_InitStruct.Pull = GPIO_NOPULL;
  GPIO_InitStruct.Speed = GPIO_SPEED_FREQ_LOW;
  GPIO_InitStruct.Alternate = GPIO_AF13_DCMI;
  HAL_GPIO_Init(GPIOE, &GPIO_InitStruct);

  /*Configure GPIO pin : VCP_RX_Pin */
  GPIO_InitStruct.Pin = VCP_RX_Pin;
  GPIO_InitStruct.Mode = GPIO_MODE_AF_PP;
  GPIO_InitStruct.Pull = GPIO_NOPULL;
  GPIO_InitStruct.Speed = GPIO_SPEED_FREQ_LOW;
  GPIO_InitStruct.Alternate = GPIO_AF7_USART1;
  HAL_GPIO_Init(VCP_RX_GPIO_Port, &GPIO_InitStruct);

  /*Configure GPIO pin : QSPI_NCS_Pin */
  GPIO_InitStruct.Pin = QSPI_NCS_Pin;
  GPIO_InitStruct.Mode = GPIO_MODE_AF_PP;
  GPIO_InitStruct.Pull = GPIO_NOPULL;
  GPIO_InitStruct.Speed = GPIO_SPEED_FREQ_VERY_HIGH;
  GPIO_InitStruct.Alternate = GPIO_AF10_QUADSPI;
  HAL_GPIO_Init(QSPI_NCS_GPIO_Port, &GPIO_InitStruct);

  /*Configure GPIO pins : FMC_SDNCAS_Pin FMC_SDCLK_Pin FMC_A11_Pin FMC_A10_Pin
                           FMC_BA1_Pin FMC_BA0_Pin */
  GPIO_InitStruct.Pin = FMC_SDNCAS_Pin|FMC_SDCLK_Pin|FMC_A11_Pin|FMC_A10_Pin
                          |FMC_BA1_Pin|FMC_BA0_Pin;
  GPIO_InitStruct.Mode = GPIO_MODE_AF_PP;
  GPIO_InitStruct.Pull = GPIO_NOPULL;
  GPIO_InitStruct.Speed = GPIO_SPEED_FREQ_VERY_HIGH;
  GPIO_InitStruct.Alternate = GPIO_AF12_FMC;
  HAL_GPIO_Init(GPIOG, &GPIO_InitStruct);

  /*Configure GPIO pin : OTG_FS_VBUS_Pin */
  GPIO_InitStruct.Pin = OTG_FS_VBUS_Pin;
  GPIO_InitStruct.Mode = GPIO_MODE_INPUT;
  GPIO_InitStruct.Pull = GPIO_NOPULL;
  HAL_GPIO_Init(OTG_FS_VBUS_GPIO_Port, &GPIO_InitStruct);

  /*Configure GPIO pin : Audio_INT_Pin */
  GPIO_InitStruct.Pin = Audio_INT_Pin;
  GPIO_InitStruct.Mode = GPIO_MODE_EVT_RISING;
  GPIO_InitStruct.Pull = GPIO_NOPULL;
  HAL_GPIO_Init(Audio_INT_GPIO_Port, &GPIO_InitStruct);

  /*Configure GPIO pins : FMC_D2_Pin FMC_D3_Pin FMC_D1_Pin FMC_D15_Pin
                           FMC_D0_Pin FMC_D14_Pin FMC_D13_Pin */
  GPIO_InitStruct.Pin = FMC_D2_Pin|FMC_D3_Pin|FMC_D1_Pin|FMC_D15_Pin
                          |FMC_D0_Pin|FMC_D14_Pin|FMC_D13_Pin;
  GPIO_InitStruct.Mode = GPIO_MODE_AF_PP;
  GPIO_InitStruct.Pull = GPIO_NOPULL;
  GPIO_InitStruct.Speed = GPIO_SPEED_FREQ_VERY_HIGH;
  GPIO_InitStruct.Alternate = GPIO_AF12_FMC;
  HAL_GPIO_Init(GPIOD, &GPIO_InitStruct);

  /*Configure GPIO pins : OTG_FS_P_Pin OTG_FS_N_Pin OTG_FS_ID_Pin */
  GPIO_InitStruct.Pin = OTG_FS_P_Pin|OTG_FS_N_Pin|OTG_FS_ID_Pin;
  GPIO_InitStruct.Mode = GPIO_MODE_AF_PP;
  GPIO_InitStruct.Pull = GPIO_NOPULL;
  GPIO_InitStruct.Speed = GPIO_SPEED_FREQ_VERY_HIGH;
  GPIO_InitStruct.Alternate = GPIO_AF10_OTG_FS;
  HAL_GPIO_Init(GPIOA, &GPIO_InitStruct);

  /*Configure GPIO pins : SAI2_MCLKA_Pin SAI2_SCKA_Pin SAI2_FSA_Pin SAI2_SDA_Pin */
  GPIO_InitStruct.Pin = SAI2_MCLKA_Pin|SAI2_SCKA_Pin|SAI2_FSA_Pin|SAI2_SDA_Pin;
  GPIO_InitStruct.Mode = GPIO_MODE_AF_PP;
  GPIO_InitStruct.Pull = GPIO_NOPULL;
  GPIO_InitStruct.Speed = GPIO_SPEED_FREQ_LOW;
  GPIO_InitStruct.Alternate = GPIO_AF10_SAI2;
  HAL_GPIO_Init(GPIOI, &GPIO_InitStruct);

  /*Configure GPIO pin : SAI2_SDB_Pin */
  GPIO_InitStruct.Pin = SAI2_SDB_Pin;
  GPIO_InitStruct.Mode = GPIO_MODE_AF_PP;
  GPIO_InitStruct.Pull = GPIO_NOPULL;
  GPIO_InitStruct.Speed = GPIO_SPEED_FREQ_LOW;
  GPIO_InitStruct.Alternate = GPIO_AF10_SAI2;
  HAL_GPIO_Init(SAI2_SDB_GPIO_Port, &GPIO_InitStruct);

  /*Configure GPIO pin : OTG_FS_PowerSwitchOn_Pin */
  GPIO_InitStruct.Pin = OTG_FS_PowerSwitchOn_Pin;
  GPIO_InitStruct.Mode = GPIO_MODE_OUTPUT_PP;
  GPIO_InitStruct.Pull = GPIO_NOPULL;
  GPIO_InitStruct.Speed = GPIO_SPEED_FREQ_LOW;
  HAL_GPIO_Init(OTG_FS_PowerSwitchOn_GPIO_Port, &GPIO_InitStruct);

  /*Configure GPIO pin : DCMI_D5_Pin */
  GPIO_InitStruct.Pin = DCMI_D5_Pin;
  GPIO_InitStruct.Mode = GPIO_MODE_AF_PP;
  GPIO_InitStruct.Pull = GPIO_NOPULL;
  GPIO_InitStruct.Speed = GPIO_SPEED_FREQ_LOW;
  GPIO_InitStruct.Alternate = GPIO_AF13_DCMI;
  HAL_GPIO_Init(DCMI_D5_GPIO_Port, &GPIO_InitStruct);

  /*Configure GPIO pins : ARDUINO_D7_Pin ARDUINO_D8_Pin LCD_DISP_Pin */
  GPIO_InitStruct.Pin = ARDUINO_D7_Pin|ARDUINO_D8_Pin|LCD_DISP_Pin;
  GPIO_InitStruct.Mode = GPIO_MODE_OUTPUT_PP;
  GPIO_InitStruct.Pull = GPIO_NOPULL;
  GPIO_InitStruct.Speed = GPIO_SPEED_FREQ_LOW;
  HAL_GPIO_Init(GPIOI, &GPIO_InitStruct);

  /*Configure GPIO pin : uSD_Detect_Pin */
  GPIO_InitStruct.Pin = uSD_Detect_Pin;
  GPIO_InitStruct.Mode = GPIO_MODE_INPUT;
  GPIO_InitStruct.Pull = GPIO_NOPULL;
  HAL_GPIO_Init(uSD_Detect_GPIO_Port, &GPIO_InitStruct);

  /*Configure GPIO pins : FMC_A0_Pin FMC_A1_Pin FMC_A2_Pin FMC_A3_Pin
                           FMC_A4_Pin FMC_A5_Pin FMC_A6_Pin FMC_A9_Pin
                           FMC_A7_Pin FMC_A8_Pin FMC_SDNRAS_Pin */
  GPIO_InitStruct.Pin = FMC_A0_Pin|FMC_A1_Pin|FMC_A2_Pin|FMC_A3_Pin
                          |FMC_A4_Pin|FMC_A5_Pin|FMC_A6_Pin|FMC_A9_Pin
                          |FMC_A7_Pin|FMC_A8_Pin|FMC_SDNRAS_Pin;
  GPIO_InitStruct.Mode = GPIO_MODE_AF_PP;
  GPIO_InitStruct.Pull = GPIO_NOPULL;
  GPIO_InitStruct.Speed = GPIO_SPEED_FREQ_VERY_HIGH;
  GPIO_InitStruct.Alternate = GPIO_AF12_FMC;
  HAL_GPIO_Init(GPIOF, &GPIO_InitStruct);

  /*Configure GPIO pin : LCD_BL_CTRL_Pin */
  GPIO_InitStruct.Pin = LCD_BL_CTRL_Pin;
  GPIO_InitStruct.Mode = GPIO_MODE_OUTPUT_PP;
  GPIO_InitStruct.Pull = GPIO_NOPULL;
  GPIO_InitStruct.Speed = GPIO_SPEED_FREQ_LOW;
  HAL_GPIO_Init(LCD_BL_CTRL_GPIO_Port, &GPIO_InitStruct);

  /*Configure GPIO pin : DCMI_VSYNC_Pin */
  GPIO_InitStruct.Pin = DCMI_VSYNC_Pin;
  GPIO_InitStruct.Mode = GPIO_MODE_AF_PP;
  GPIO_InitStruct.Pull = GPIO_NOPULL;
  GPIO_InitStruct.Speed = GPIO_SPEED_FREQ_LOW;
  GPIO_InitStruct.Alternate = GPIO_AF13_DCMI;
  HAL_GPIO_Init(DCMI_VSYNC_GPIO_Port, &GPIO_InitStruct);

  /*Configure GPIO pin : OTG_FS_OverCurrent_Pin */
  GPIO_InitStruct.Pin = OTG_FS_OverCurrent_Pin;
  GPIO_InitStruct.Mode = GPIO_MODE_INPUT;
  GPIO_InitStruct.Pull = GPIO_NOPULL;
  HAL_GPIO_Init(OTG_FS_OverCurrent_GPIO_Port, &GPIO_InitStruct);

  /*Configure GPIO pin : SDMMC_D0_Pin */
  GPIO_InitStruct.Pin = SDMMC_D0_Pin;
  GPIO_InitStruct.Mode = GPIO_MODE_AF_PP;
  GPIO_InitStruct.Pull = GPIO_NOPULL;
  GPIO_InitStruct.Speed = GPIO_SPEED_FREQ_VERY_HIGH;
  GPIO_InitStruct.Alternate = GPIO_AF12_SDMMC1;
  HAL_GPIO_Init(SDMMC_D0_GPIO_Port, &GPIO_InitStruct);

  /*Configure GPIO pins : TP3_Pin NC2_Pin */
  GPIO_InitStruct.Pin = TP3_Pin|NC2_Pin;
  GPIO_InitStruct.Mode = GPIO_MODE_INPUT;
  GPIO_InitStruct.Pull = GPIO_NOPULL;
  HAL_GPIO_Init(GPIOH, &GPIO_InitStruct);

  /*Configure GPIO pin : ARDUINO_SCK_D13_Pin */
  GPIO_InitStruct.Pin = ARDUINO_SCK_D13_Pin;
  GPIO_InitStruct.Mode = GPIO_MODE_AF_PP;
  GPIO_InitStruct.Pull = GPIO_NOPULL;
  GPIO_InitStruct.Speed = GPIO_SPEED_FREQ_LOW;
  GPIO_InitStruct.Alternate = GPIO_AF5_SPI2;
  HAL_GPIO_Init(ARDUINO_SCK_D13_GPIO_Port, &GPIO_InitStruct);

  /*Configure GPIO pin : DCMI_PWR_EN_Pin */
  GPIO_InitStruct.Pin = DCMI_PWR_EN_Pin;
  GPIO_InitStruct.Mode = GPIO_MODE_OUTPUT_PP;
  GPIO_InitStruct.Pull = GPIO_NOPULL;
  GPIO_InitStruct.Speed = GPIO_SPEED_FREQ_LOW;
  HAL_GPIO_Init(DCMI_PWR_EN_GPIO_Port, &GPIO_InitStruct);

  /*Configure GPIO pins : DCMI_D4_Pin DCMI_D3_Pin DCMI_D0_Pin DCMI_D2_Pin
                           DCMI_D1_Pin */
  GPIO_InitStruct.Pin = DCMI_D4_Pin|DCMI_D3_Pin|DCMI_D0_Pin|DCMI_D2_Pin
                          |DCMI_D1_Pin;
  GPIO_InitStruct.Mode = GPIO_MODE_AF_PP;
  GPIO_InitStruct.Pull = GPIO_NOPULL;
  GPIO_InitStruct.Speed = GPIO_SPEED_FREQ_LOW;
  GPIO_InitStruct.Alternate = GPIO_AF13_DCMI;
  HAL_GPIO_Init(GPIOH, &GPIO_InitStruct);

  /*Configure GPIO pin : ARDUINO_PWM_CS_D5_Pin */
  GPIO_InitStruct.Pin = ARDUINO_PWM_CS_D5_Pin;
  GPIO_InitStruct.Mode = GPIO_MODE_AF_PP;
  GPIO_InitStruct.Pull = GPIO_NOPULL;
  GPIO_InitStruct.Speed = GPIO_SPEED_FREQ_LOW;
  GPIO_InitStruct.Alternate = GPIO_AF2_TIM5;
  HAL_GPIO_Init(ARDUINO_PWM_CS_D5_GPIO_Port, &GPIO_InitStruct);

  /*Configure GPIO pin : VCP_TX_Pin */
  GPIO_InitStruct.Pin = VCP_TX_Pin;
  GPIO_InitStruct.Mode = GPIO_MODE_AF_PP;
  GPIO_InitStruct.Pull = GPIO_NOPULL;
  GPIO_InitStruct.Speed = GPIO_SPEED_FREQ_LOW;
  GPIO_InitStruct.Alternate = GPIO_AF7_USART1;
  HAL_GPIO_Init(VCP_TX_GPIO_Port, &GPIO_InitStruct);

  /*Configure GPIO pin : ARDUINO_PWM_D10_Pin */
  GPIO_InitStruct.Pin = ARDUINO_PWM_D10_Pin;
  GPIO_InitStruct.Mode = GPIO_MODE_AF_PP;
  GPIO_InitStruct.Pull = GPIO_NOPULL;
  GPIO_InitStruct.Speed = GPIO_SPEED_FREQ_LOW;
  GPIO_InitStruct.Alternate = GPIO_AF1_TIM1;
  HAL_GPIO_Init(ARDUINO_PWM_D10_GPIO_Port, &GPIO_InitStruct);

  /*Configure GPIO pin : LCD_INT_Pin */
  GPIO_InitStruct.Pin = LCD_INT_Pin;
  GPIO_InitStruct.Mode = GPIO_MODE_EVT_RISING;
  GPIO_InitStruct.Pull = GPIO_NOPULL;
  HAL_GPIO_Init(LCD_INT_GPIO_Port, &GPIO_InitStruct);

  /*Configure GPIO pins : ARDUINO_RX_D0_Pin ARDUINO_TX_D1_Pin */
  GPIO_InitStruct.Pin = ARDUINO_RX_D0_Pin|ARDUINO_TX_D1_Pin;
  GPIO_InitStruct.Mode = GPIO_MODE_AF_PP;
  GPIO_InitStruct.Pull = GPIO_NOPULL;
  GPIO_InitStruct.Speed = GPIO_SPEED_FREQ_VERY_HIGH;
  GPIO_InitStruct.Alternate = GPIO_AF8_USART6;
  HAL_GPIO_Init(GPIOC, &GPIO_InitStruct);

  /*Configure GPIO pin : ULPI_NXT_Pin */
  GPIO_InitStruct.Pin = ULPI_NXT_Pin;
  GPIO_InitStruct.Mode = GPIO_MODE_AF_PP;
  GPIO_InitStruct.Pull = GPIO_NOPULL;
  GPIO_InitStruct.Speed = GPIO_SPEED_FREQ_VERY_HIGH;
  GPIO_InitStruct.Alternate = GPIO_AF10_OTG_HS;
  HAL_GPIO_Init(ULPI_NXT_GPIO_Port, &GPIO_InitStruct);

  /*Configure GPIO pins : FMC_SDNME_Pin FMC_SDNE0_Pin */
  GPIO_InitStruct.Pin = FMC_SDNME_Pin|FMC_SDNE0_Pin;
  GPIO_InitStruct.Mode = GPIO_MODE_AF_PP;
  GPIO_InitStruct.Pull = GPIO_NOPULL;
  GPIO_InitStruct.Speed = GPIO_SPEED_FREQ_VERY_HIGH;
  GPIO_InitStruct.Alternate = GPIO_AF12_FMC;
  HAL_GPIO_Init(GPIOH, &GPIO_InitStruct);

  /*Configure GPIO pins : ARDUINO_D4_Pin ARDUINO_D2_Pin EXT_RST_Pin */
  GPIO_InitStruct.Pin = ARDUINO_D4_Pin|ARDUINO_D2_Pin|EXT_RST_Pin;
  GPIO_InitStruct.Mode = GPIO_MODE_OUTPUT_PP;
  GPIO_InitStruct.Pull = GPIO_NOPULL;
  GPIO_InitStruct.Speed = GPIO_SPEED_FREQ_LOW;
  HAL_GPIO_Init(GPIOG, &GPIO_InitStruct);

  /*Configure GPIO pins : ARDUINO_A4_Pin ARDUINO_A5_Pin ARDUINO_A1_Pin ARDUINO_A2_Pin
                           ARDUINO_A3_Pin */
  GPIO_InitStruct.Pin = ARDUINO_A4_Pin|ARDUINO_A5_Pin|ARDUINO_A1_Pin|ARDUINO_A2_Pin
                          |ARDUINO_A3_Pin;
  GPIO_InitStruct.Mode = GPIO_MODE_ANALOG;
  GPIO_InitStruct.Pull = GPIO_NOPULL;
  HAL_GPIO_Init(GPIOF, &GPIO_InitStruct);

  /*Configure GPIO pin : FMC_SDCKE0_Pin */
  GPIO_InitStruct.Pin = FMC_SDCKE0_Pin;
  GPIO_InitStruct.Mode = GPIO_MODE_AF_PP;
  GPIO_InitStruct.Pull = GPIO_NOPULL;
  GPIO_InitStruct.Speed = GPIO_SPEED_FREQ_VERY_HIGH;
  GPIO_InitStruct.Alternate = GPIO_AF12_FMC;
  HAL_GPIO_Init(FMC_SDCKE0_GPIO_Port, &GPIO_InitStruct);

  /*Configure GPIO pins : ULPI_STP_Pin ULPI_DIR_Pin */
  GPIO_InitStruct.Pin = ULPI_STP_Pin|ULPI_DIR_Pin;
  GPIO_InitStruct.Mode = GPIO_MODE_AF_PP;
  GPIO_InitStruct.Pull = GPIO_NOPULL;
  GPIO_InitStruct.Speed = GPIO_SPEED_FREQ_VERY_HIGH;
  GPIO_InitStruct.Alternate = GPIO_AF10_OTG_HS;
  HAL_GPIO_Init(GPIOC, &GPIO_InitStruct);

  /*Configure GPIO pins : RMII_MDC_Pin RMII_RXD0_Pin RMII_RXD1_Pin */
  GPIO_InitStruct.Pin = RMII_MDC_Pin|RMII_RXD0_Pin|RMII_RXD1_Pin;
  GPIO_InitStruct.Mode = GPIO_MODE_AF_PP;
  GPIO_InitStruct.Pull = GPIO_NOPULL;
  GPIO_InitStruct.Speed = GPIO_SPEED_FREQ_VERY_HIGH;
  GPIO_InitStruct.Alternate = GPIO_AF11_ETH;
  HAL_GPIO_Init(GPIOC, &GPIO_InitStruct);

  /*Configure GPIO pin : PB2 */
  GPIO_InitStruct.Pin = GPIO_PIN_2;
  GPIO_InitStruct.Mode = GPIO_MODE_AF_PP;
  GPIO_InitStruct.Pull = GPIO_NOPULL;
  GPIO_InitStruct.Speed = GPIO_SPEED_FREQ_VERY_HIGH;
  GPIO_InitStruct.Alternate = GPIO_AF9_QUADSPI;
  HAL_GPIO_Init(GPIOB, &GPIO_InitStruct);

  /*Configure GPIO pins : QSPI_D1_Pin QSPI_D3_Pin QSPI_D0_Pin */
  GPIO_InitStruct.Pin = QSPI_D1_Pin|QSPI_D3_Pin|QSPI_D0_Pin;
  GPIO_InitStruct.Mode = GPIO_MODE_AF_PP;
  GPIO_InitStruct.Pull = GPIO_NOPULL;
  GPIO_InitStruct.Speed = GPIO_SPEED_FREQ_VERY_HIGH;
  GPIO_InitStruct.Alternate = GPIO_AF9_QUADSPI;
  HAL_GPIO_Init(GPIOD, &GPIO_InitStruct);

  /*Configure GPIO pin : RMII_RXER_Pin */
  GPIO_InitStruct.Pin = RMII_RXER_Pin;
  GPIO_InitStruct.Mode = GPIO_MODE_INPUT;
  GPIO_InitStruct.Pull = GPIO_NOPULL;
  HAL_GPIO_Init(RMII_RXER_GPIO_Port, &GPIO_InitStruct);

  /*Configure GPIO pins : RMII_REF_CLK_Pin RMII_MDIO_Pin RMII_CRS_DV_Pin */
  GPIO_InitStruct.Pin = RMII_REF_CLK_Pin|RMII_MDIO_Pin|RMII_CRS_DV_Pin;
  GPIO_InitStruct.Mode = GPIO_MODE_AF_PP;
  GPIO_InitStruct.Pull = GPIO_NOPULL;
  GPIO_InitStruct.Speed = GPIO_SPEED_FREQ_VERY_HIGH;
  GPIO_InitStruct.Alternate = GPIO_AF11_ETH;
  HAL_GPIO_Init(GPIOA, &GPIO_InitStruct);

  /*Configure GPIO pin : ARDUINO_A0_Pin */
  GPIO_InitStruct.Pin = ARDUINO_A0_Pin;
  GPIO_InitStruct.Mode = GPIO_MODE_ANALOG;
  GPIO_InitStruct.Pull = GPIO_NOPULL;
  HAL_GPIO_Init(ARDUINO_A0_GPIO_Port, &GPIO_InitStruct);

  /*Configure GPIO pins : DCMI_HSYNC_Pin PA6 */
  GPIO_InitStruct.Pin = DCMI_HSYNC_Pin|GPIO_PIN_6;
  GPIO_InitStruct.Mode = GPIO_MODE_AF_PP;
  GPIO_InitStruct.Pull = GPIO_NOPULL;
  GPIO_InitStruct.Speed = GPIO_SPEED_FREQ_LOW;
  GPIO_InitStruct.Alternate = GPIO_AF13_DCMI;
  HAL_GPIO_Init(GPIOA, &GPIO_InitStruct);

  /*Configure GPIO pins : LCD_SCL_Pin LCD_SDA_Pin */
  GPIO_InitStruct.Pin = LCD_SCL_Pin|LCD_SDA_Pin;
  GPIO_InitStruct.Mode = GPIO_MODE_AF_OD;
  GPIO_InitStruct.Pull = GPIO_NOPULL;
  GPIO_InitStruct.Speed = GPIO_SPEED_FREQ_VERY_HIGH;
  GPIO_InitStruct.Alternate = GPIO_AF4_I2C3;
  HAL_GPIO_Init(GPIOH, &GPIO_InitStruct);

  /*Configure GPIO pins : ULPI_CLK_Pin ULPI_D0_Pin */
  GPIO_InitStruct.Pin = ULPI_CLK_Pin|ULPI_D0_Pin;
  GPIO_InitStruct.Mode = GPIO_MODE_AF_PP;
  GPIO_InitStruct.Pull = GPIO_NOPULL;
  GPIO_InitStruct.Speed = GPIO_SPEED_FREQ_VERY_HIGH;
  GPIO_InitStruct.Alternate = GPIO_AF10_OTG_HS;
  HAL_GPIO_Init(GPIOA, &GPIO_InitStruct);

  /*Configure GPIO pin : ARDUINO_PWM_D6_Pin */
  GPIO_InitStruct.Pin = ARDUINO_PWM_D6_Pin;
  GPIO_InitStruct.Mode = GPIO_MODE_AF_PP;
  GPIO_InitStruct.Pull = GPIO_NOPULL;
  GPIO_InitStruct.Speed = GPIO_SPEED_FREQ_LOW;
  GPIO_InitStruct.Alternate = GPIO_AF9_TIM12;
  HAL_GPIO_Init(ARDUINO_PWM_D6_GPIO_Port, &GPIO_InitStruct);

  /*Configure GPIO pins : ARDUINO_MISO_D12_Pin ARDUINO_MOSI_PWM_D11_Pin */
  GPIO_InitStruct.Pin = ARDUINO_MISO_D12_Pin|ARDUINO_MOSI_PWM_D11_Pin;
  GPIO_InitStruct.Mode = GPIO_MODE_AF_PP;
  GPIO_InitStruct.Pull = GPIO_NOPULL;
  GPIO_InitStruct.Speed = GPIO_SPEED_FREQ_LOW;
  GPIO_InitStruct.Alternate = GPIO_AF5_SPI2;
  HAL_GPIO_Init(GPIOB, &GPIO_InitStruct);

}

/* USER CODE BEGIN 4 */
void HAL_LTDC_LineEventCallback(LTDC_HandleTypeDef *hltdc)
{
	 static uint8_t count = 0;
	 static uint8_t index = 2;
	 if(++count == FRAME_CHANGE_DELAY){
		  switch(index){
		  case 1:
			  HAL_LTDC_SetAddress(hltdc,(uint32_t)&t1_480x270_map,LTDC_LAYER_1);
			  index = 2;
			  break;
		  case 2:
			  HAL_LTDC_SetAddress(hltdc,(uint32_t)&t2_480x270_map,LTDC_LAYER_1);
			  index = 3;
			  break;
		  case 3:
			  HAL_LTDC_SetAddress(hltdc,(uint32_t)&t3_480x270_map,LTDC_LAYER_1);
			  index = 1;
			  break;
		  }
		  count = 0;
	 }

  HAL_LTDC_ProgramLineEvent(hltdc,LINE_INT_POS);

}
/* USER CODE END 4 */

void Error_Handler(void)
{
  __disable_irq();
  while (1)
  {
  }
}
